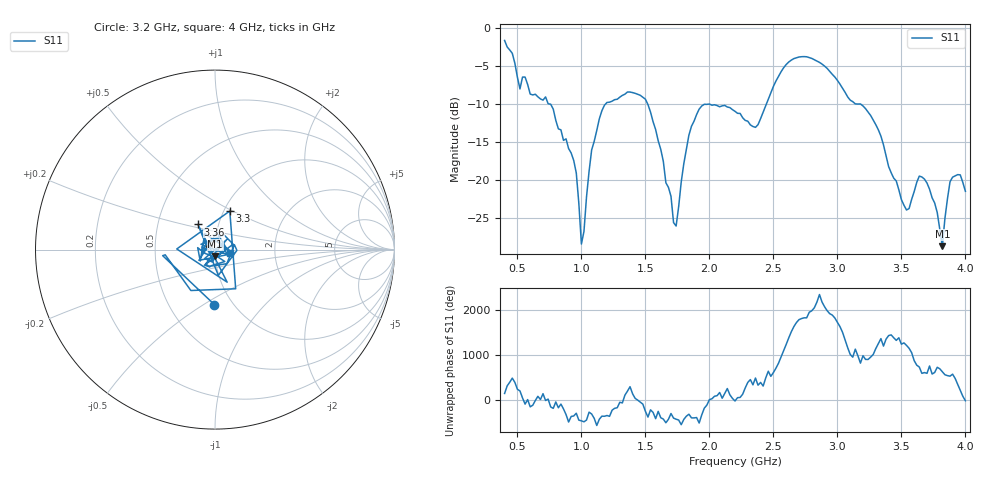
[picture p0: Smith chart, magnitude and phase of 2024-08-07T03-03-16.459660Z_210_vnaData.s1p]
!Created with skrf (http://scikit-rf.org).
# Hz S RI R 50.0
!freq ReS11 ImS11
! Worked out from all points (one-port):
!   181 points, 400 MHz to 4 GHz, reference 50 ohm
!   lowest |S11| = -28.7 dB at 3.82 GHz (marker M1), VSWR 1.08, Z = 50 - j3.65 ohm
!   |S11| at or under -10 dB: 741.5 MHz to 1.191 GHz (449 MHz wide, 46.5 % of centre); 1.517 GHz to 2.446 GHz (929.4 MHz wide, 46.9 % of centre); 3.139 GHz to end of sweep
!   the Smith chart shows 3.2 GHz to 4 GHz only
!   S11 on the Smith chart (normalised r, x): 3.2 GHz: 0.82, -0.56; 3.3 GHz: 1.07, +0.48; 3.36 GHz: 0.80, +0.23; 4 GHz: 1.18, -0.05
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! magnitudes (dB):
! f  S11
! 400 MHz  -1.7
! 520 MHz  -8.1
! 720 MHz  -9.1
! 860 MHz  -14.8
! 960 MHz  -19.1
! 1 GHz  -28.5
! 1.08 GHz  -16.1
! 1.14 GHz  -12.0
! 1.3 GHz  -9.1
! 1.5 GHz  -9.4
! 1.62 GHz  -16.0
! 1.72 GHz  -25.6
! 1.76 GHz  -23.5
! 1.84 GHz  -14.1
! 1.92 GHz  -10.7
! 2.2 GHz  -11.0
! 2.36 GHz  -13.1
! 2.66 GHz  -4.1
! 2.88 GHz  -4.8
! 3.1 GHz  -9.5
! 3.2 GHz  -10.3
! 3.3 GHz  -12.8
! 3.36 GHz  -15.4
! 3.56 GHz  -23.8
! 3.68 GHz  -19.9
! 3.82 GHz  -28.7
! 3.88 GHz  -20.3
! 4 GHz  -21.5
